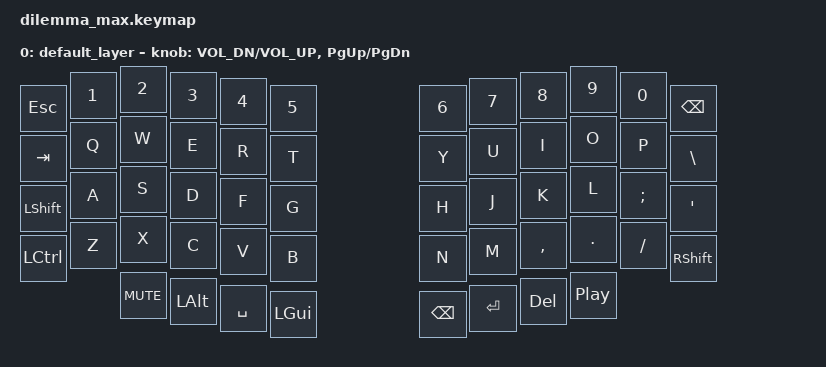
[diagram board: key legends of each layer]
// Dilemma Max - Simple Single Layer Keymap

#include <behaviors.dtsi>
#include <dt-bindings/zmk/keys.h>

/ {
    keymap {
        compatible = "zmk,keymap";

        default_layer {
            // ┌─────┬───┬───┬───┬───┬───┐   ┌───┬───┬───┬───┬───┬─────┐
            // │ ESC │ 1 │ 2 │ 3 │ 4 │ 5 │   │ 6 │ 7 │ 8 │ 9 │ 0 │BSPC │
            // ├─────┼───┼───┼───┼───┼───┤   ├───┼───┼───┼───┼───┼─────┤
            // │ TAB │ Q │ W │ E │ R │ T │   │ Y │ U │ I │ O │ P │  \  │
            // ├─────┼───┼───┼───┼───┼───┤   ├───┼───┼───┼───┼───┼─────┤
            // │CAPS │ A │ S │ D │ F │ G │   │ H │ J │ K │ L │ ; │  '  │
            // ├─────┼───┼───┼───┼───┼───┤   ├───┼───┼───┼───┼───┼─────┤
            // │LSFT │ Z │ X │ C │ V │ B │   │ N │ M │ , │ . │ / │RSFT │
            // └─────┴───┴───┼───┼───┼───┤   ├───┼───┼───┼───┴───┴─────┘
            //               │CTL│GUI│SPC│   │ALT│RET│DEL│
            //               └───┴───┴───┘   └───┴───┴───┘
            bindings = <
                &kp ESC    &kp N1  &kp N2  &kp N3    &kp N4   &kp N5                 &kp N6   &kp N7   &kp N8     &kp N9   &kp N0    &kp BSPC
                &kp TAB    &kp Q   &kp W   &kp E     &kp R    &kp T                  &kp Y    &kp U    &kp I      &kp O    &kp P     &kp BSLH
                &kp LSHFT  &kp A   &kp S   &kp D     &kp F    &kp G                  &kp H    &kp J    &kp K      &kp L    &kp SEMI  &kp SQT
                &kp LCTRL  &kp Z   &kp X   &kp C     &kp V    &kp B                  &kp N    &kp M    &kp COMMA  &kp DOT  &kp FSLH  &kp RSHFT
                                    &kp C_MUTE &kp LALT  &kp SPACE &kp LGUI      &kp BSPC &kp RET &kp DEL &kp C_PP
            >;

            sensor-bindings = <&inc_dec_kp C_VOL_DN C_VOL_UP &inc_dec_kp PG_UP PG_DN>;
        };
    };
};
